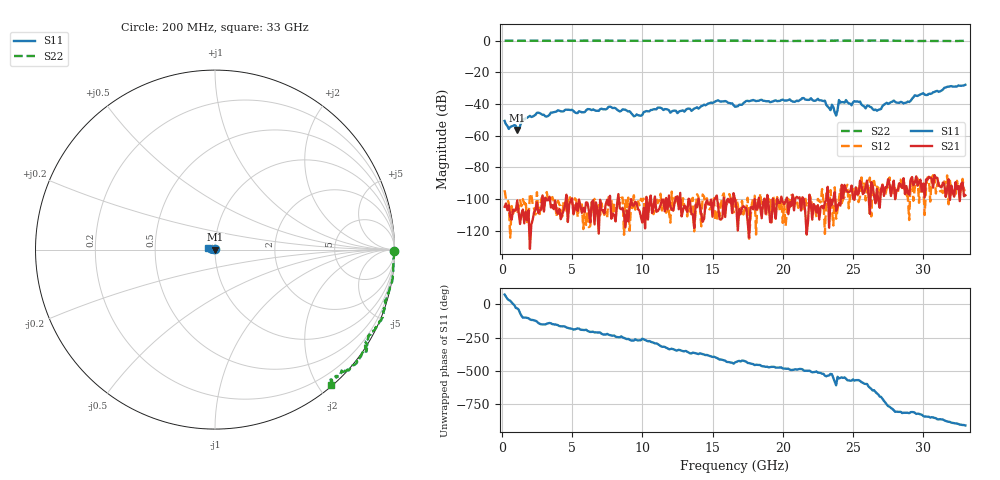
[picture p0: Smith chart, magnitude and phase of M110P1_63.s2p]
# GHZ S RI R 50
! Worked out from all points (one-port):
!   329 points, 200 MHz to 33 GHz, reference 50 ohm
!   lowest |S11| = -56.4 dB at 1.1 GHz (marker M1), VSWR 1.00, Z = 50.1 - j0.0768 ohm
!   |S11| at or under -10 dB: start of sweep to end of sweep
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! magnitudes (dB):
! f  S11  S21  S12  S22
! 200 MHz  -50.7  -105.0  -94.4  0.0
! 500 MHz  -55.8  -104.1  -103.0  0.0
! 1.1 GHz  -56.4  -100.9  -108.9  0.0
! 1.5 GHz  -49.7  -106.7  -100.1  0.0
! 2.5 GHz  -45.5  -102.2  -95.7  0.0
! 5.7 GHz  -45.2  -108.8  -103.5  0.0
! 7.7 GHz  -41.7  -98.0  -98.9  0.0
! 9.4 GHz  -47.8  -104.2  -97.7  0.0
! 11.2 GHz  -42.3  -106.3  -101.2  -0.1
! 12.5 GHz  -45.8  -98.4  -101.7  -0.1
! 15.4 GHz  -37.7  -104.6  -102.5  0.0
! 16.6 GHz  -41.7  -100.2  -104.9  0.0
! 17.9 GHz  -37.4  -106.5  -99.0  0.0
! 22.1 GHz  -37.4  -113.1  -105.9  -0.2
! 23 GHz  -37.9  -102.1  -122.1  -0.1
! 23.4 GHz  -43.9  -100.3  -94.5  0.0
! 23.5 GHz  -40.4  -103.6  -106.0  0.0
! 23.8 GHz  -47.3  -107.5  -112.5  0.1
! 24 GHz  -37.5  -102.6  -99.9  0.0
! 26.7 GHz  -44.2  -93.6  -92.2  0.1
! 27.6 GHz  -39.4  -90.6  -86.5  0.0
! 33 GHz  -27.9  -97.7  -94.3  -0.1
